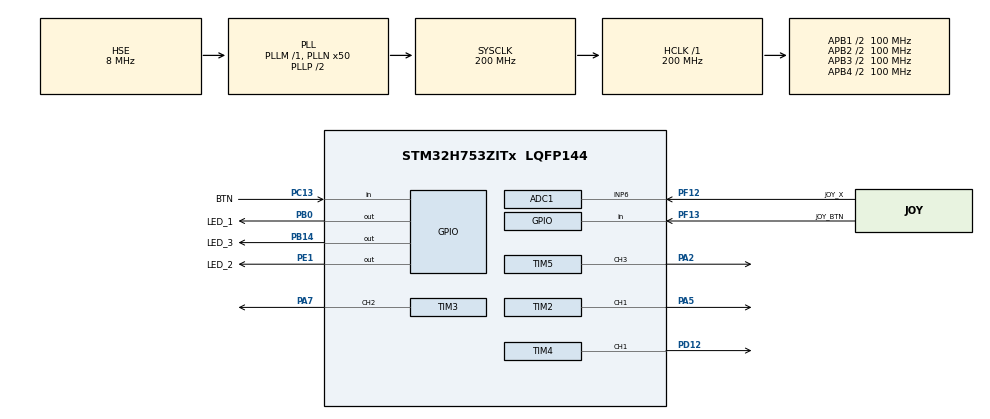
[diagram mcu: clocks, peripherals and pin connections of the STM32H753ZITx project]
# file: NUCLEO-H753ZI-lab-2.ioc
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ADC1.Channel-6\#ChannelRegularConversion=ADC_CHANNEL_6
ADC1.ContinuousConvMode=ENABLE
ADC1.NbrOfConversion=1
ADC1.NbrOfConversionFlag=1
ADC1.OffsetNumber-6\#ChannelRegularConversion=ADC_OFFSET_NONE
ADC1.OffsetSignedSaturation-6\#ChannelRegularConversion=DISABLE
ADC1.Rank-6\#ChannelRegularConversion=1
ADC1.Resolution=ADC_RESOLUTION_12B
ADC1.SamplingTime-6\#ChannelRegularConversion=ADC_SAMPLETIME_64CYCLES_5
ADC1.master=1
Mcu.Family=STM32H7
Mcu.Name=STM32H753ZITx
Mcu.Package=LQFP144
NVIC.PriorityGroup=NVIC_PRIORITYGROUP_4
PA13\ (JTMS/SWDIO).Mode=Trace_Asynchronous_SW
PA13\ (JTMS/SWDIO).Signal=DEBUG_JTMS-SWDIO
PA14\ (JTCK/SWCLK).Mode=Trace_Asynchronous_SW
PA14\ (JTCK/SWCLK).Signal=DEBUG_JTCK-SWCLK
PA2.Signal=S_TIM5_CH3
PA5.Signal=S_TIM2_CH1_ETR
PA7.Signal=S_TIM3_CH2
PB0.GPIO_Label=LED_1
PB0.GPIO_PuPd=GPIO_NOPULL
PB0.Signal=GPIO_Output
PB14.GPIO_Label=LED_3
PB14.Signal=GPIO_Output
PB3\ (JTDO/TRACESWO).Mode=Trace_Asynchronous_SW
PB3\ (JTDO/TRACESWO).Signal=DEBUG_JTDO-SWO
PC13.GPIO_Label=BTN
PC13.Signal=GPIO_Input
PD12.Signal=S_TIM4_CH1
PE1.GPIO_Label=LED_2
PE1.Signal=GPIO_Output
PF12.GPIO_Label=JOY_X
PF12.Mode=IN6-Single-Ended
PF12.Signal=ADC1_INP6
PF13.GPIO_Label=JOY_BTN
PF13.GPIO_PuPd=GPIO_PULLUP
PF13.Signal=GPIO_Input
PH0-OSC_IN\ (PH0).Mode=HSE-External-Oscillator
PH0-OSC_IN\ (PH0).Signal=RCC_OSC_IN
PH1-OSC_OUT\ (PH1).Mode=HSE-External-Oscillator
PH1-OSC_OUT\ (PH1).Signal=RCC_OSC_OUT
ProjectManager.HeapSize=0x200
ProjectManager.StackSize=0x400
ProjectManager.TargetToolchain=STM32CubeIDE
RCC.ADCFreq_Value=80000000
RCC.APB1Freq_Value=100000000
RCC.APB2Freq_Value=100000000
RCC.APB3Freq_Value=100000000
RCC.APB4Freq_Value=100000000
RCC.CortexFreq_Value=200000000
RCC.D1PPRE=RCC_APB3_DIV2
RCC.D2PPRE1=RCC_APB1_DIV2
RCC.D2PPRE2=RCC_APB2_DIV2
RCC.D3PPRE=RCC_APB4_DIV2
RCC.DIVM1=1
RCC.DIVM2=1
RCC.DIVN1=50
RCC.DIVN2=20
RCC.HCLKFreq_Value=200000000
RCC.HSE_VALUE=8000000
RCC.PLL2FRACN=0
RCC.PLL3FRACN=0
RCC.PLLFRACN=0
RCC.PLLSourceVirtual=RCC_PLLSOURCE_HSE
RCC.SYSCLKFreq_VALUE=200000000
RCC.SYSCLKSource=RCC_SYSCLKSOURCE_PLLCLK
RCC.USBFreq_Value=200000000
SH.S_TIM2_CH1_ETR.0=TIM2_CH1,PWM Generation1 CH1
SH.S_TIM3_CH2.0=TIM3_CH2,PWM Generation2 CH2
SH.S_TIM4_CH1.0=TIM4_CH1,PWM Generation1 CH1
SH.S_TIM5_CH3.0=TIM5_CH3,PWM Generation3 CH3
TIM2.Channel-PWM\ Generation1\ CH1=TIM_CHANNEL_1
TIM2.Period=20000-1
TIM2.Prescaler=200-1
TIM3.Channel-PWM\ Generation2\ CH2=TIM_CHANNEL_2
TIM3.Period=20000-1
TIM3.Prescaler=200-1
TIM3.Pulse-PWM\ Generation2\ CH2=0
TIM4.Channel-PWM\ Generation1\ CH1=TIM_CHANNEL_1
TIM4.Period=20000-1
TIM4.Prescaler=200-1
TIM5.Channel-PWM\ Generation3\ CH3=TIM_CHANNEL_3
TIM5.Period=20000-1
TIM5.Prescaler=200-1
VP_MEMORYMAP_VS_MEMORYMAP.Mode=CurAppReg
VP_TIM2_VS_ClockSourceINT.Mode=Internal
VP_TIM3_VS_ClockSourceINT.Mode=Internal
VP_TIM4_VS_ClockSourceINT.Mode=Internal
VP_TIM5_VS_ClockSourceINT.Mode=Internal
board=custom

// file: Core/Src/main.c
/* USER CODE BEGIN Header */
/**
 ******************************************************************************
 * @file           : main.c
 * @brief          : Main program body
 ******************************************************************************
 * @attention
 *
 * Copyright (c) 2025 STMicroelectronics.
 * All rights reserved.
 *
 * This software is licensed under terms that can be found in the LICENSE file
 * in the root directory of this software component.
 * If no LICENSE file comes with this software, it is provided AS-IS.
 *
 ******************************************************************************
 */
/* USER CODE END Header */
#include "main.h"
#include "adc.h"
#include "tim.h"
#include "gpio.h"

/* USER CODE BEGIN PTD */
typedef enum {
	RIGHT, LEFT, NEUTRAL
} JoystickXPos;

/* USER CODE END PTD */

/* USER CODE BEGIN PD */
#define DEBOUNCE_DELAY_MS 20

#define PWM_MAX 20000
#define PWM_MIN 0
#define PWM_STEP 1000

#define CHANNEL_NUMBER 4
/* USER CODE END PD */

/* USER CODE BEGIN PV */
uint32_t CurrentChannelIndex = 0;

/* USER CODE END PV */

void SystemClock_Config(void);

/* USER CODE BEGIN 0 */
JoystickXPos ReadJoystickXPos() {
	uint16_t x;

	HAL_ADC_PollForConversion(&hadc1, 1);
	x = (uint16_t) HAL_ADC_GetValue(&hadc1);

	if (x < 1024) {
		return LEFT;
	} else if (x > 3072) {
		return RIGHT;
	}
	return NEUTRAL;

}

void ProcessJoystickX(volatile uint32_t *CurrentChannelPulse) {
	static uint32_t LastDebounceTime = 0;
	static JoystickXPos Position = NEUTRAL;
	static JoystickXPos LastPosition = NEUTRAL;
	static JoystickXPos PositionReading;

	PositionReading = ReadJoystickXPos();
	if (PositionReading != LastPosition) {
		LastDebounceTime = HAL_GetTick();
	}
	if ((HAL_GetTick() - LastDebounceTime) > DEBOUNCE_DELAY_MS) {
		if (PositionReading != Position) {
			Position = PositionReading;
			if (Position == LEFT && *CurrentChannelPulse > 0) {
				*CurrentChannelPulse -= PWM_STEP;
			} else if (Position == RIGHT && *CurrentChannelPulse < PWM_MAX) {
				*CurrentChannelPulse += PWM_STEP;
			}
		}
	}
	LastPosition = PositionReading;

}

void ProcessJoystickButton(volatile uint32_t *ChannelPulse[]) {
	if (HAL_GPIO_ReadPin(JOY_BTN_GPIO_Port, JOY_BTN_Pin) == GPIO_PIN_RESET) {
		for (int i = 0; i < CHANNEL_NUMBER; ++i) {
			*ChannelPulse[i] = 0;
		}

	}
}

void ProcessButton() {
	static uint32_t LastDebounceTime = 0;
	static uint8_t BtnState = GPIO_PIN_RESET;
	static uint8_t LastBtnState = GPIO_PIN_RESET;
	static uint8_t BtnReading;

	BtnReading = HAL_GPIO_ReadPin(BTN_GPIO_Port, BTN_Pin);
	if (BtnReading != LastBtnState) {
		LastDebounceTime = HAL_GetTick();
	}
	if ((HAL_GetTick() - LastDebounceTime) > DEBOUNCE_DELAY_MS) {
		if (BtnReading != BtnState) {
			BtnState = BtnReading;
			if (BtnState == GPIO_PIN_SET) {
				CurrentChannelIndex =
						(CurrentChannelIndex + 1) % CHANNEL_NUMBER;
			}
			switch (CurrentChannelIndex) {
			case 0:
				HAL_GPIO_WritePin(LED_2_GPIO_Port, LED_2_Pin, GPIO_PIN_RESET);
				HAL_GPIO_WritePin(LED_3_GPIO_Port, LED_3_Pin, GPIO_PIN_RESET);
				HAL_GPIO_WritePin(LED_1_GPIO_Port, LED_1_Pin, GPIO_PIN_SET);
				break;
			case 1:
				HAL_GPIO_WritePin(LED_1_GPIO_Port, LED_1_Pin, GPIO_PIN_RESET);
				HAL_GPIO_WritePin(LED_2_GPIO_Port, LED_2_Pin, GPIO_PIN_SET);
				break;
			case 2:
				HAL_GPIO_WritePin(LED_2_GPIO_Port, LED_2_Pin, GPIO_PIN_RESET);
				HAL_GPIO_WritePin(LED_3_GPIO_Port, LED_3_Pin, GPIO_PIN_SET);
				break;
			case 3:
				HAL_GPIO_WritePin(LED_1_GPIO_Port, LED_1_Pin, GPIO_PIN_SET);
				HAL_GPIO_WritePin(LED_2_GPIO_Port, LED_2_Pin, GPIO_PIN_SET);
				HAL_GPIO_WritePin(LED_3_GPIO_Port, LED_3_Pin, GPIO_PIN_SET);
				break;
			default:

			}
		}
	}
	LastBtnState = BtnReading;

}

/* USER CODE END 0 */

int main(void) {

	/* MCU Configuration--------------------------------------------------------*/

	/* Reset of all peripherals, Initializes the Flash interface and the Systick. */
	HAL_Init();

	/* Configure the system clock */
	SystemClock_Config();

	/* Initialize all configured peripherals */
	MX_GPIO_Init();
	MX_TIM3_Init();
	MX_ADC1_Init();
	MX_TIM4_Init();
	MX_TIM5_Init();
	MX_TIM2_Init();
	/* USER CODE BEGIN 2 */
	HAL_TIM_PWM_Start(&htim2, TIM_CHANNEL_1);
	HAL_TIM_PWM_Start(&htim3, TIM_CHANNEL_2);
	HAL_TIM_PWM_Start(&htim4, TIM_CHANNEL_1);
	HAL_TIM_PWM_Start(&htim5, TIM_CHANNEL_3);
	HAL_ADC_Start(&hadc1);

	volatile uint32_t *ChannelPulse[] = { &(htim2.Instance->CCR1),
			&(htim3.Instance->CCR2), &(htim4.Instance->CCR1),
			&(htim5.Instance->CCR3) };

	HAL_GPIO_WritePin(LED_1_GPIO_Port, LED_1_Pin, GPIO_PIN_SET);
	/* USER CODE END 2 */

	/* Infinite loop */
	/* USER CODE BEGIN WHILE */
	while (1) {
		ProcessJoystickButton(ChannelPulse);
		ProcessButton();
		ProcessJoystickX(ChannelPulse[CurrentChannelIndex]);
		/* USER CODE END WHILE */

	}
}

void SystemClock_Config(void) {
	RCC_OscInitTypeDef RCC_OscInitStruct = { 0 };
	RCC_ClkInitTypeDef RCC_ClkInitStruct = { 0 };

	/** Supply configuration update enable
	 */
	HAL_PWREx_ConfigSupply(PWR_LDO_SUPPLY);

	/** Configure the main internal regulator output voltage
	 */
	__HAL_PWR_VOLTAGESCALING_CONFIG(PWR_REGULATOR_VOLTAGE_SCALE3);

	while (!__HAL_PWR_GET_FLAG(PWR_FLAG_VOSRDY)) {
	}

	/** Initializes the RCC Oscillators according to the specified parameters
	 * in the RCC_OscInitTypeDef structure.
	 */
	RCC_OscInitStruct.OscillatorType = RCC_OSCILLATORTYPE_HSE;
	RCC_OscInitStruct.HSEState = RCC_HSE_ON;
	RCC_OscInitStruct.PLL.PLLState = RCC_PLL_ON;
	RCC_OscInitStruct.PLL.PLLSource = RCC_PLLSOURCE_HSE;
	RCC_OscInitStruct.PLL.PLLM = 1;
	RCC_OscInitStruct.PLL.PLLN = 50;
	RCC_OscInitStruct.PLL.PLLP = 2;
	RCC_OscInitStruct.PLL.PLLQ = 2;
	RCC_OscInitStruct.PLL.PLLR = 2;
	RCC_OscInitStruct.PLL.PLLRGE = RCC_PLL1VCIRANGE_3;
	RCC_OscInitStruct.PLL.PLLVCOSEL = RCC_PLL1VCOWIDE;
	RCC_OscInitStruct.PLL.PLLFRACN = 0;
	if (HAL_RCC_OscConfig(&RCC_OscInitStruct) != HAL_OK) {
		Error_Handler();
	}

	/** Initializes the CPU, AHB and APB buses clocks
	 */
	RCC_ClkInitStruct.ClockType = RCC_CLOCKTYPE_HCLK | RCC_CLOCKTYPE_SYSCLK
			| RCC_CLOCKTYPE_PCLK1 | RCC_CLOCKTYPE_PCLK2 | RCC_CLOCKTYPE_D3PCLK1
			| RCC_CLOCKTYPE_D1PCLK1;
	RCC_ClkInitStruct.SYSCLKSource = RCC_SYSCLKSOURCE_PLLCLK;
	RCC_ClkInitStruct.SYSCLKDivider = RCC_SYSCLK_DIV1;
	RCC_ClkInitStruct.AHBCLKDivider = RCC_HCLK_DIV1;
	RCC_ClkInitStruct.APB3CLKDivider = RCC_APB3_DIV2;
	RCC_ClkInitStruct.APB1CLKDivider = RCC_APB1_DIV2;
	RCC_ClkInitStruct.APB2CLKDivider = RCC_APB2_DIV2;
	RCC_ClkInitStruct.APB4CLKDivider = RCC_APB4_DIV2;

	if (HAL_RCC_ClockConfig(&RCC_ClkInitStruct, FLASH_LATENCY_4) != HAL_OK) {
		Error_Handler();
	}
}

void Error_Handler(void) {
	__disable_irq();
	while (1) {
	}
}
